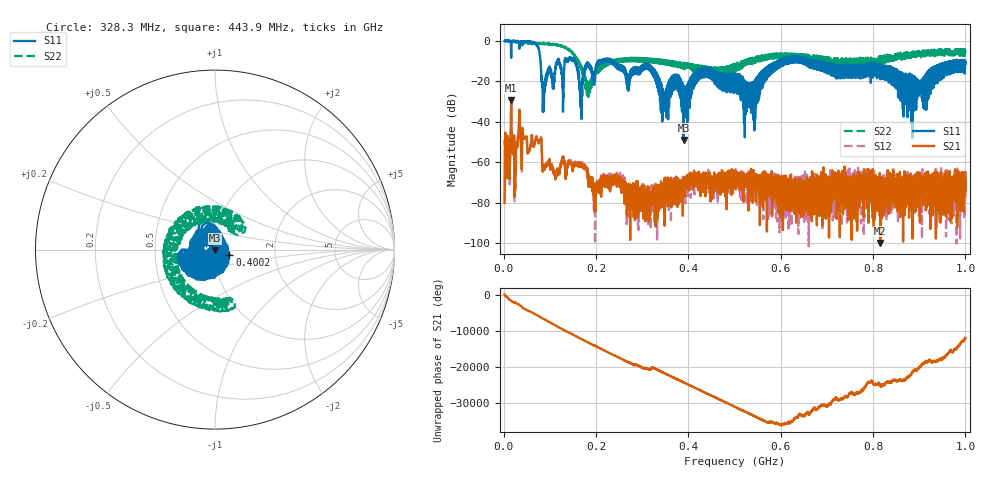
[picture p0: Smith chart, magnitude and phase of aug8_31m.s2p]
!Keysight Technologies N9923A: A.12.45
!Date: Friday, 08 August 2025 17:52:44
!Timezone: (UTC+08:00) Kuala Lumpur, Singapore
!Model: N9923A
!Serial: MY61181427
!GPS Latitude:
!GPS Longitude:
!GPS TimeStamp: 0001-01-01 00:00:00Z
!GPS Seconds Since Last Read: 0
!CHECKSUM:0602638387
!Correction: S11(ON U)S21(ON U)S12(ON U)S22(ON U)
!S2P File: Measurements:S11,S21,S12,S22:
# Hz S DB R 50
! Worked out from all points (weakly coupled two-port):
!   4001 points, 2 MHz to 1 GHz, reference 50 ohm
!   highest |S21| = -29.51 dB at 16.22 MHz (marker M1); lowest = -100.0 dB at 815.6 MHz (marker M2)
!   lowest |S11| = -49.1 dB at 389.5 MHz (marker M3), VSWR 1.01, Z = 50 - j0.349 ohm
!   |S11| at or under -10 dB: 155.2 MHz to 205.8 MHz (50.65 MHz wide, 28.1 % of centre); 236.1 MHz to 594.5 MHz (358.5 MHz wide, 86.3 % of centre); 680.6 MHz to 972.5 MHz (291.9 MHz wide, 35.3 % of centre) (the widest 3 of 97)
!   |S22| runs from -27.8 to 0.1 dB; largest |S21 - S12| = 0.0012
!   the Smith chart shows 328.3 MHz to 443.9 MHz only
!   S11 on the Smith chart (normalised r, x): 328.3 MHz: 0.82, +0.16; 400.2 MHz: 1.17, -0.07; 443.9 MHz: 0.71, -0.12
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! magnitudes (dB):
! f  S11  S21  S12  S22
! 2 MHz  -0.1  -80.1  -77.0  0.0
! 16.22 MHz  -8.5  -29.5  -29.5  -0.5
! 70.86 MHz  -2.0  -47.5  -47.3  -1.3
! 86.83 MHz  -35.0  -62.3  -62.0  -1.7
! 145.2 MHz  -8.4  -60.6  -59.2  -5.5
! 168.4 MHz  -36.0  -62.5  -60.9  -13.9
! 179.1 MHz  -11.4  -63.7  -61.9  -21.3
! 196.1 MHz  -20.3  -75.4  -77.6  -15.9
! 219.3 MHz  -9.0  -66.5  -67.5  -11.0
! 328.3 MHz  -17.8  -71.6  -75.7  -10.6
! 334.8 MHz  -19.1  -71.9  -78.0  -11.3
! 389.5 MHz  -49.1  -72.2  -74.8  -10.9
! 400.2 MHz  -21.3  -69.5  -69.9  -14.1
! 443.9 MHz  -14.8  -69.7  -72.9  -16.5
! 501 MHz  -16.4  -69.1  -66.6  -15.5
! 538.2 MHz  -23.4  -67.3  -72.2  -11.7
! 599.6 MHz  -9.4  -84.1  -75.4  -6.4
! 667.4 MHz  -10.2  -89.3  -71.3  -8.3
! 815.6 MHz  -17.7  -100.0  -73.9  -7.6
! 833.8 MHz  -18.8  -85.6  -68.2  -8.1
! 890 MHz  -34.4  -76.1  -86.5  -5.6
! 1 GHz  -11.4  -69.0  -72.7  -6.1
